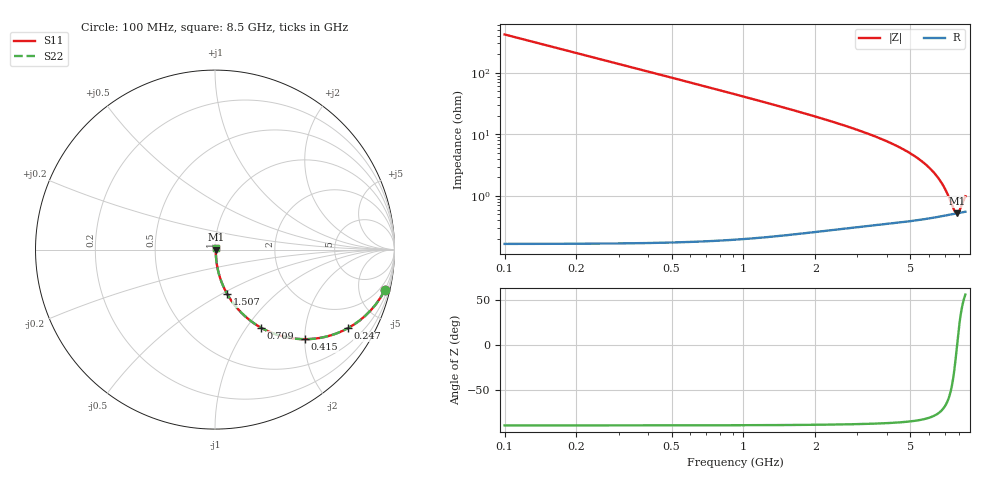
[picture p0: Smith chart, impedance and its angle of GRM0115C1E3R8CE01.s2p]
!Murata Part Number: GRM0115C1E3R8CE01
!These Parameters are Measured in Series Mode Connection
!Data Generated on Mar 30, 2021
!  o--ll--o
!Port1  Port2
!  o------o
!Operation Temp=25[degC], DC Bias Voltage=0[V]
!Freq. Start=100[MHz] Stop=9[GHz] 401[Steps]
# Hz S RI R 50
!Freq.(Hz) S11(Real) S11(Imag) S21(Real) S21(Imag) S12(Real) S12(Imag) S22(Real) S22(Imag)
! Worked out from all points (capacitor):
!   401 points, 100 MHz to 8.5 GHz, reference 50 ohm
!   read as one part in series: C = 3.8 pF near 142 MHz
!   lowest |Z| = 524 mohm at 7.828 GHz (marker M1)
!   series resonance near 7.847 GHz, so ESL is about 110 pH
!   S11 on the Smith chart (normalised r, x): 100 MHz: 1.00, -8.38; 247 MHz: 1.00, -3.39; 415 MHz: 1.00, -2.01; 709 MHz: 1.00, -1.17; 1.507 GHz: 1.00, -0.53; 8.5 GHz: 1.01, +0.02
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1e8  0.946 -0.2259  0.054 0.2259  0.054 0.2259  0.946 -0.2259
1.84e8  0.8379 -0.3682  0.1621 0.3682  0.1621 0.3682  0.8379 -0.3682
2.47e8  0.7413 -0.4374  0.2587 0.4374  0.2587 0.4374  0.7413 -0.4374
3.31e8  0.6144 -0.4861  0.3856 0.4861  0.3856 0.4861  0.6144 -0.4861
4.15e8  0.503 -0.4991  0.497 0.4991  0.497 0.4991  0.503 -0.4991
5.62e8  0.3548 -0.4772  0.6452 0.4772  0.6452 0.4772  0.3548 -0.4772
7.09e8  0.2559 -0.4348  0.7441 0.4348  0.7441 0.4348  0.2559 -0.4348
8.56e8  0.19 -0.3903  0.81 0.3903  0.81 0.3903  0.19 -0.3903
1.024e9  0.14 -0.3444  0.86 0.3444  0.86 0.3444  0.14 -0.3444
1.507e9  0.0683 -0.248  0.9317 0.248  0.9317 0.248  0.0683 -0.248
2.116e9  0.0346 -0.1757  0.9654 0.1757  0.9654 0.1757  0.0346 -0.1757
2.914e9  0.0178 -0.1204  0.9822 0.1204  0.9822 0.1204  0.0178 -0.1204
4.3e9  0.00808 -0.0665  0.9919 0.0665  0.9919 0.0665  0.00808 -0.0665
5.707e9  0.00531 -0.0336  0.9947 0.0336  0.9947 0.0336  0.00531 -0.0336
6.505e9  0.00492 -0.0195  0.9951 0.0195  0.9951 0.0195  0.00492 -0.0195
6.82e9  0.0049 -0.0145  0.9951 0.0145  0.9951 0.0145  0.0049 -0.0145
7.114e9  0.00494 -0.0101  0.9951 0.0101  0.9951 0.0101  0.00494 -0.0101
7.618e9  0.00511 -0.00303  0.9949 0.00303  0.9949 0.00303  0.00511 -0.00303
7.723e9  0.00515 -0.00163  0.9948 0.00163  0.9948 0.00163  0.00515 -0.00163
7.828e9  0.0052 -0.000251  0.9948 0.000251  0.9948 0.000251  0.0052 -0.000251
8.017e9  0.0053 0.00217  0.9947 -0.00217  0.9947 -0.00217  0.0053 0.00217
8.5e9  0.00558 0.00807  0.9944 -0.00807  0.9944 -0.00807  0.00558 0.00807
